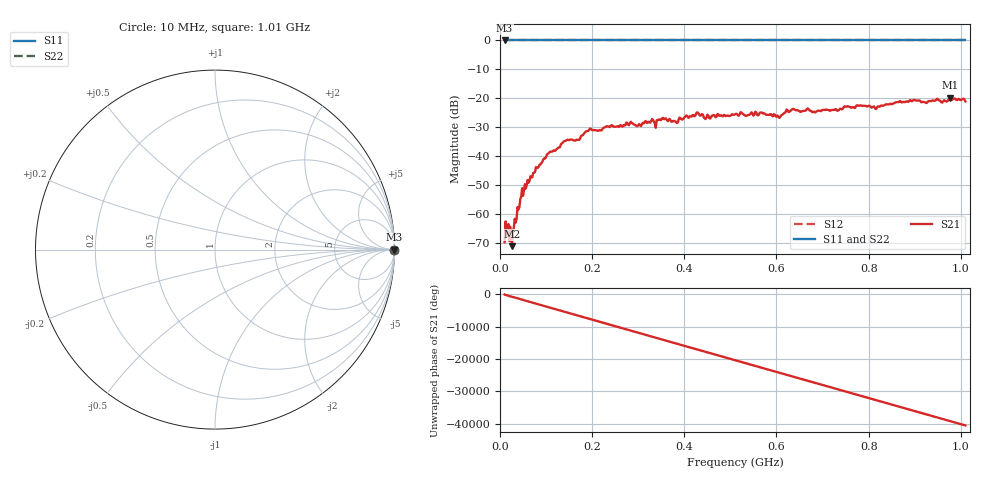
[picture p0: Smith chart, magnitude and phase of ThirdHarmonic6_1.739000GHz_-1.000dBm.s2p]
! 8/16/2025 8:57:50 PM
! C:\ANRITSUVNA\TEMP\TEMP.S2P
! CHANNEL.1
! TR.MEASUREMENT
! RAW.DATA
! RF.CORRECTION.OFF
! AVERAGING.OFF
! IF.BANDWIDTH: 5KHZ
! SWEEPTYPE:  FREQ.SWEEP(Linear)
! Reference Plane Port Info
! PORT:  PORT1  PORT2
! DISTANCE:  0  m  0  m
! TIME:  0  s  0  s
! PHASE.OFFSET:  0  deg.  0  deg.
! LOSS:  0  dB  0  dB
! REF.LOSS:  0  dB  0  dB
! REF.FREQ:  0  Hz  0  Hz
! Power Info
! POWER:  -20  dBm  -20  dBm
! EFF.POWER:  -20  dBm  -20  dBm
! SOURCE.ATTEN:  0  dB  0  dB
! TEST.ATTEN:  0  dB  0  dB
# GHZ S RI R 50.0
! FREQ.GHZ  S11RE  S11IM  S21RE  S21IM  S12RE  S12IM  S22RE  S22IM
!; PortSelection: Port_12
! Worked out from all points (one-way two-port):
!   501 points, 10 MHz to 1.01 GHz, reference 50 ohm
!   highest |S21| = -19.84 dB at 976 MHz (marker M1); lowest = -71.2 dB at 26 MHz (marker M2)
!   lowest |S11| = 0.0 dB at 10 MHz (marker M3)
!   |S11| at or under -10 dB: nowhere
!   |S22| runs from 0.0 to 0.0 dB; largest |S21 - S12| = 1.1
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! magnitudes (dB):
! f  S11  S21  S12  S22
! 10 MHz  0.0  -69.8  0.0  0.0
! 16 MHz  0.0  -67.5  0.0  0.0
! 24 MHz  0.0  -67.7  0.0  0.0
! 26 MHz  0.0  -71.2  0.0  0.0
! 50 MHz  0.0  -53.7  0.0  0.0
! 76 MHz  0.0  -45.5  0.0  0.0
! 106 MHz  0.0  -38.9  0.0  0.0
! 138 MHz  0.0  -35.0  0.0  0.0
! 178 MHz  0.0  -32.8  0.0  0.0
! 194 MHz  0.0  -30.8  0.0  0.0
! 344 MHz  0.0  -27.5  0.0  0.0
! 382 MHz  0.0  -28.2  0.0  0.0
! 428 MHz  0.0  -24.9  0.0  0.0
! 446 MHz  0.0  -27.2  0.0  0.0
! 510 MHz  0.0  -25.6  0.0  0.0
! 568 MHz  0.0  -24.9  0.0  0.0
! 604 MHz  0.0  -26.4  0.0  0.0
! 636 MHz  0.0  -23.7  0.0  0.0
! 678 MHz  0.0  -24.8  0.0  0.0
! 844 MHz  0.0  -22.1  0.0  0.0
! 976 MHz  0.0  -19.8  0.0  0.0
! 1.01 GHz  0.0  -21.1  0.0  0.0
